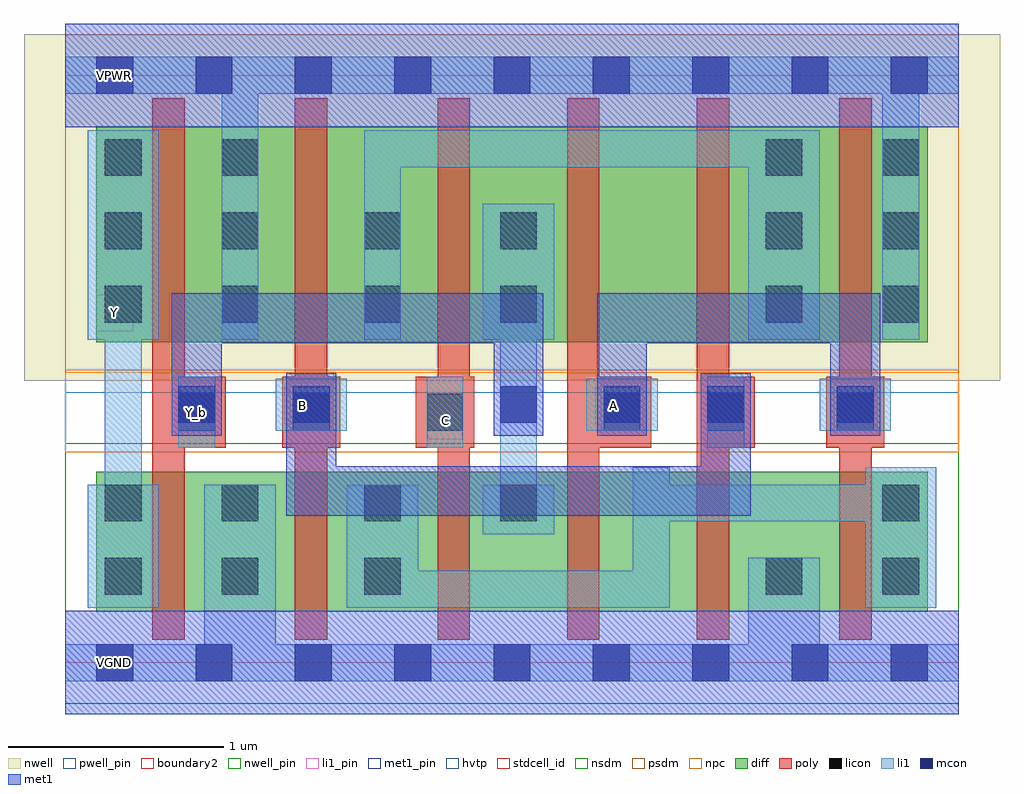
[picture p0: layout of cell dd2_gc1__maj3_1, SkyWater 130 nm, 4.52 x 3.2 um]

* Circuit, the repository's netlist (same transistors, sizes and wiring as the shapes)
.subckt dd2_gc1__maj3_1 A B C VGND VNB VPB VPWR Y
X0 Y_b A n1 VNB sky130_fd_pr__nfet_01v8 w=0.65 l=0.15
X1 n1 B VGND VNB sky130_fd_pr__nfet_01v8 w=0.65 l=0.15
X2 Y_b C n2 VNB sky130_fd_pr__nfet_01v8 w=0.65 l=0.15
X3 n2 A VGND VNB sky130_fd_pr__nfet_01v8 w=0.65 l=0.15
X4 n2 B VGND VNB sky130_fd_pr__nfet_01v8 w=0.65 l=0.15
X5 Y_b C p1 VPB sky130_fd_pr__pfet_01v8_hvt w=1 l=0.15
X6 Y_b A p2 VPB sky130_fd_pr__pfet_01v8_hvt w=1 l=0.15
X7 p2 B p1 VPB sky130_fd_pr__pfet_01v8_hvt w=1 l=0.15
X8 p1 A VPWR VPB sky130_fd_pr__pfet_01v8_hvt w=1 l=0.15
X9 p1 B VPWR VPB sky130_fd_pr__pfet_01v8_hvt w=1 l=0.15
X10 Y Y_b VGND VNB sky130_fd_pr__nfet_01v8 w=0.65 l=0.15
X11 Y Y_b VPWR VPB sky130_fd_pr__pfet_01v8_hvt w=1 l=0.15
.ends

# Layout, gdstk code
import gdstk
lib = gdstk.Library(unit=1e-6, precision=1e-09)
def R(c, l, rs):  # rectangles x0, y0, x1, y1
    for r in rs: c.add(gdstk.rectangle(r[:2], r[2:], *l))
def A(c, l, x, y, w, h, nx, ny, dx, dy):  # array of equal rectangles
    R(c, l, [(x+i*dx, y+j*dy, x+i*dx+w, y+j*dy+h) for i in range(nx) for j in range(ny)])
nwell_pin = (64, 16)
nwell = (64, 20)
diff = (65, 20)
poly = (66, 20)
licon = (66, 44)
li1_pin = (67, 16)
li1 = (67, 20)
mcon = (67, 44)
met1_pin = (68, 16)
met1 = (68, 20)
hvtp = (78, 44)
stdcell_id = (81, 4)
nsdm = (93, 44)
psdm = (94, 20)
npc = (95, 20)
pwell_pin = (122, 16)
boundary2 = (236, 0)

dd2_gc1__maj3_1 = lib.new_cell('dd2_gc1__maj3_1')
R(dd2_gc1__maj3_1, nwell_pin, [(0.145,2.635,0.315,2.805)])
R(dd2_gc1__maj3_1, nwell, [(-0.19,1.305,4.33,2.91)])
R(dd2_gc1__maj3_1, diff, [(0.145,0.235,3.995,0.885), (0.145,1.485,3.995,2.485)])
A(dd2_gc1__maj3_1, poly, 0.405, 0.105, 0.15, 2.51, 3, 1, 0.66, 0)
R(dd2_gc1__maj3_1, poly, [(2.325,0.105,2.475,2.615), (2.925,0.105,3.075,2.615), (3.585,0.105,3.735,2.615), (0.405,0.995,0.745,1.325), (1.005,0.995,1.275,1.325), (1.625,0.995,1.895,1.325), (2.325,0.995,2.715,1.325), (2.925,0.995,3.195,1.325), (3.525,0.995,3.795,1.325)])
A(dd2_gc1__maj3_1, licon, 0.185, 1.575, 0.17, 0.17, 1, 3, 0, 0.34)
A(dd2_gc1__maj3_1, licon, 0.725, 1.575, 0.17, 0.17, 1, 3, 0, 0.34)
A(dd2_gc1__maj3_1, licon, 3.245, 1.575, 0.17, 0.17, 1, 3, 0, 0.34)
A(dd2_gc1__maj3_1, licon, 3.785, 1.575, 0.17, 0.17, 1, 3, 0, 0.34)
R(dd2_gc1__maj3_1, licon, [(0.185,0.315,0.355,0.485), (0.725,0.315,0.895,0.485), (1.385,0.315,1.555,0.485), (3.245,0.315,3.415,0.485), (3.785,0.315,3.955,0.485), (0.185,0.655,0.355,0.825), (0.725,0.655,0.895,0.825), (1.385,0.655,1.555,0.825), (2.015,0.655,2.185,0.825), (3.785,0.655,3.955,0.825), (0.525,1.075,0.695,1.245), (1.055,1.075,1.225,1.245), (1.675,1.075,1.845,1.245), (2.495,1.075,2.665,1.245), (2.975,1.075,3.145,1.245), (3.575,1.075,3.745,1.245), (1.385,1.575,1.555,1.745), (2.015,1.575,2.185,1.745), (1.385,1.915,1.555,2.085), (2.015,1.915,2.185,2.085)])
R(dd2_gc1__maj3_1, li1_pin, [(1.68,1.035,1.84,1.205), (1.015,1.105,1.185,1.275), (2.455,1.105,2.625,1.275), (0.145,1.535,0.315,1.705)])
R(dd2_gc1__maj3_1, li1, [(0,-0.085,4.14,0.085), (0.645,-0.085,0.975,0.825), (3.165,-0.085,3.495,0.485), (0.105,0.255,0.435,0.825), (1.305,0.255,1.635,0.825), (1.385,0.255,2.8,0.425), (2.63,0.255,2.8,0.905), (3.705,0.255,4.035,0.905), (1.935,0.595,2.265,0.825), (2.63,0.655,4.035,0.825), (0.185,0.815,0.355,1.505), (2.015,0.815,2.185,1.505), (0.525,0.995,0.695,1.325), (1.675,0.995,1.845,1.325), (2.975,0.995,3.145,1.325), (0.975,1.075,1.305,1.315), (2.415,1.075,2.745,1.315), (3.495,1.075,3.825,1.315), (0.105,1.495,0.435,2.465), (0.725,1.495,0.895,2.805), (1.385,1.495,1.555,2.465), (1.935,1.495,2.265,2.125), (3.165,1.495,3.495,2.465), (3.785,1.495,3.955,2.805), (1.385,2.295,3.495,2.465), (0,2.635,4.14,2.805)])
A(dd2_gc1__maj3_1, mcon, 0.145, -0.085, 0.17, 0.17, 9, 2, 0.46, 2.72)
A(dd2_gc1__maj3_1, mcon, 2.015, 1.11, 0.17, 0.17, 3, 1, 0.48, 0)
R(dd2_gc1__maj3_1, mcon, [(0.525,1.11,0.695,1.28), (1.055,1.11,1.225,1.28), (3.575,1.11,3.745,1.28)])
R(dd2_gc1__maj3_1, met1_pin, [(0.145,-0.085,0.315,0.085), (0.145,2.635,0.315,2.805)])
R(dd2_gc1__maj3_1, met1, [(0,-0.24,4.14,0.24), (1.025,0.68,1.255,1.34), (1.025,0.68,3.175,0.91), (2.945,0.68,3.175,1.34), (0.495,1.05,0.725,1.71), (1.985,1.05,2.215,1.71), (2.465,1.05,2.695,1.71), (3.545,1.05,3.775,1.71), (0.495,1.48,2.215,1.71), (2.465,1.48,3.775,1.71), (0,2.48,4.14,2.96)])
R(dd2_gc1__maj3_1, hvtp, [(0,1.25,4.14,2.72)])
R(dd2_gc1__maj3_1, stdcell_id, [(0,0,4.14,2.72)])
R(dd2_gc1__maj3_1, nsdm, [(0,-0.19,4.14,1.015)])
R(dd2_gc1__maj3_1, psdm, [(0,1.355,4.14,2.91)])
R(dd2_gc1__maj3_1, npc, [(0,0.975,4.14,1.345)])
R(dd2_gc1__maj3_1, pwell_pin, [(0.145,-0.085,0.315,0.085)])
R(dd2_gc1__maj3_1, boundary2, [(0,0,4.14,2.72)])
dd2_gc1__maj3_1.add(gdstk.Label('Y_b', (0.61,1.16), layer=67, texttype=5))
dd2_gc1__maj3_1.add(gdstk.Label('B', (1.1,1.19), layer=67, texttype=5))
dd2_gc1__maj3_1.add(gdstk.Label('C', (1.76,1.12), layer=67, texttype=5))
dd2_gc1__maj3_1.add(gdstk.Label('A', (2.54,1.19), layer=67, texttype=5))
dd2_gc1__maj3_1.add(gdstk.Label('Y', (0.23,1.62), layer=67, texttype=5))
dd2_gc1__maj3_1.add(gdstk.Label('VGND', (0.23,0), layer=68, texttype=5))
dd2_gc1__maj3_1.add(gdstk.Label('VPWR', (0.23,2.72), layer=68, texttype=5))
dd2_gc1__maj3_1.add(gdstk.Label('VPB', (0.23,2.72), layer=64, texttype=5))
dd2_gc1__maj3_1.add(gdstk.Label('VNB', (0.23,0), layer=64, texttype=59))

lib.write_gds('dd2_gc1__maj3_1.gds')
